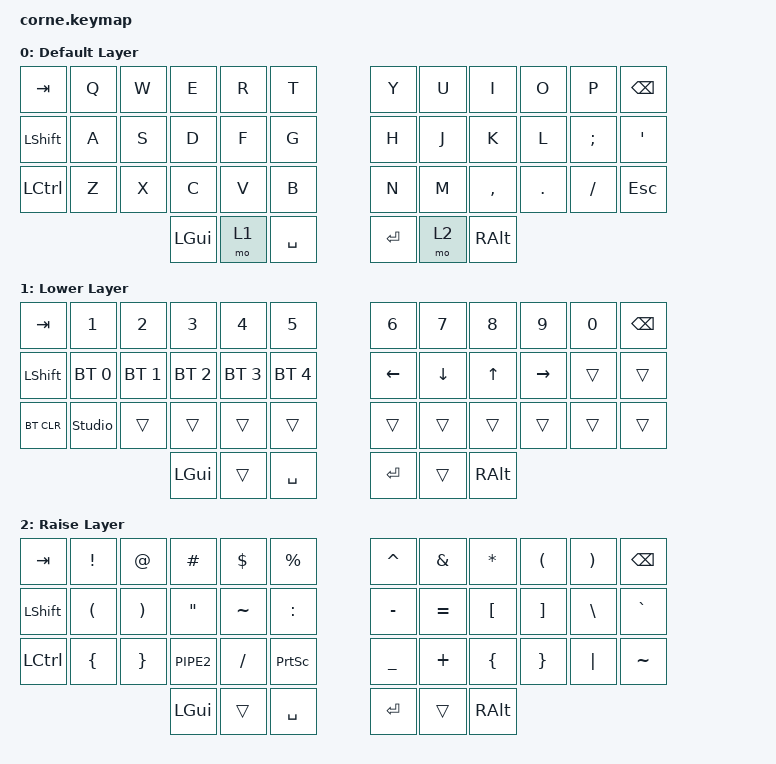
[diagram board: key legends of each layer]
/*
 * Copyright (c) 2020 The ZMK Contributors
 *
 * SPDX-License-Identifier: MIT
 */
#include <behaviors.dtsi>
#include <dt-bindings/zmk/keys.h>
#include <dt-bindings/zmk/bt.h>

/ {
    keymap {
        compatible = "zmk,keymap";

        default_layer {
            display-name = "Default Layer";
            bindings = <
	    //,-----------------------------------------------------.                    ,-----------------------------------------------------.
       	        &kp TAB  &kp Q     &kp W    &kp E    &kp R    &kp T                        &kp Y    &kp U     &kp I   &kp O    &kp P   &kp BSPC
  	    //|--------+--------+--------+--------+--------+--------|                    |--------+--------+--------+--------+--------+--------|
      	       &kp LSHFT &kp A     &kp S    &kp D    &kp F    &kp G                        &kp H    &kp J     &kp K   &kp L   &kp SEMI &kp SQT
  	    //|--------+--------+--------+--------+--------+--------|                    |--------+--------+--------+--------+--------+--------|
               &kp LCTRL &kp Z     &kp X    &kp C    &kp V    &kp B                        &kp N    &kp M   &kp COMMA &kp DOT &kp FSLH &kp ESC
            //|--------+--------+--------+--------+--------+--------+--------|  |--------+--------+--------+--------+--------+--------+--------|
                                           &kp LGUI &mo 1 &kp SPACE      &kp RET &mo 2 &kp RALT
                                      //`--------------------------'  `--------------------------'
            >;
        };

        lower_layer {
            display-name = "Lower Layer";
            // -----------------------------------------------------------------------------------------
            // |  TAB |  1  |  2  |  3  |  4  |  5  |   |  6  |  7  |  8  |  9  |  0  | BSPC |
            // | SHFT | BT1 | BT2 | BT3 | BT4 | BT5 |   | LFT | DWN |  UP | RGT |     |      |
            // | BTCLR |     |     |     |     |     |   |     |     |     |     |     |      |
            //                | GUI |     | SPC |   | ENT |     | ALT |
            bindings = <
                &kp TAB    &kp N1       &kp N2       &kp N3       &kp N4       &kp N5         &kp N6   &kp N7   &kp N8 &kp N9    &kp N0 &kp BSPC
                &kp LSHFT  &bt BT_SEL 0 &bt BT_SEL 1 &bt BT_SEL 2 &bt BT_SEL 3 &bt BT_SEL 4   &kp LEFT &kp DOWN &kp UP &kp RIGHT &trans &trans
                &bt BT_CLR &studio_unlock       &trans       &trans       &trans       &trans         &trans   &trans   &trans &trans    &trans &trans
                                       &kp LGUI     &trans       &kp SPACE    &kp RET  &trans   &kp RALT
            >;
        };

        raise_layer {
            display-name = "Raise Layer";
            // -----------------------------------------------------------------------------------------
            // |  TAB |  !  |  @  |  #  |  $  |  %  |   |  ^  |  &  |  *  |  (  |  )  | BSPC |
            // | SHFT |  (  |  )  |  "  |  ~  |  :  |   |  -  |  =  |  [  |  ]  |  \  |  `   |
            // | CTRL |  {  |  }  |  |  |  /  | PS  |   |  _  |  +  |  {  |  }  | "|" |  ~   |
            //                | GUI |     | SPC |   | ENT |     | ALT |
            bindings = <
                &kp TAB   &kp EXCL &kp AT &kp HASH &kp DLLR &kp PRCNT   &kp CARET &kp AMPS  &kp ASTRK &kp LPAR &kp RPAR &kp BSPC
                &kp LSHFT &kp LPAR &kp RPAR &kp DQT &kp TILDE  &kp COLON   &kp MINUS &kp EQUAL &kp LBKT  &kp RBKT &kp BSLH &kp GRAVE
                &kp LCTRL &kp LBRC &kp RBRC &kp PIPE2 &kp FSLH &kp PSCRN   &kp UNDER &kp PLUS  &kp LBRC  &kp RBRC &kp PIPE &kp TILDE
                              &kp LGUI &trans &kp SPACE &kp RET &trans &kp RALT
            >;
        };
    };
};
